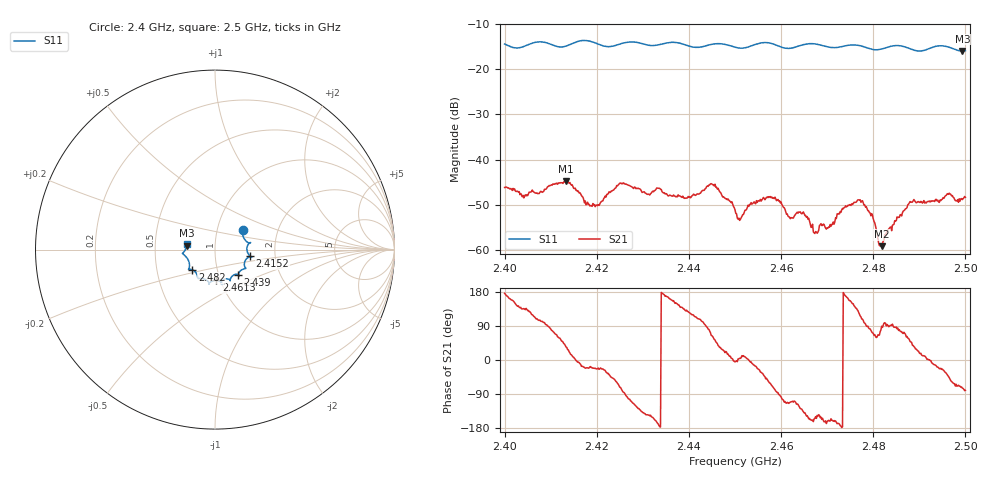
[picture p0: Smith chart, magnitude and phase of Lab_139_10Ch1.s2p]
# Hz S RI R 50
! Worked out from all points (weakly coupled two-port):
!   601 points, 2.4 GHz to 2.5 GHz, reference 50 ohm
!   highest |S21| = -44.80 dB at 2.4133 GHz (marker M1); lowest = -59.2 dB at 2.4818 GHz (marker M2)
!   lowest |S11| = -15.9 dB at 2.4993 GHz (marker M3), VSWR 1.38, Z = 36.3 + j1.59 ohm
!   |S11| at or under -10 dB: start of sweep to end of sweep
!   S12 and S22 are empty: the file has one direction only
!   S11 on the Smith chart (normalised r, x): 2.4 GHz: 1.33, +0.31; 2.4152 GHz: 1.48, -0.11; 2.439 GHz: 1.24, -0.36; 2.4613 GHz: 0.96, -0.34; 2.482 GHz: 0.76, -0.17; 2.5 GHz: 0.73, +0.05
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2.4e9  0.1556 0.1117  -0.00488 0.000334  0 0  0 0
2.404333e9  0.1755 0.0449  -0.00275 0.00279  0 0  0 0
2.413333e9  0.1811 -0.0149  0.00475 0.00325  0 0  0 0
2.415167e9  0.1948 -0.0362  0.00476 0.000352  0 0  0 0
2.416667e9  0.2044 -0.0422  0.00383 -0.00115  0 0  0 0
2.42e9  0.1894 -0.0416  0.00287 -0.00124  0 0  0 0
2.425333e9  0.1669 -0.0979  0.00126 -0.00524  0 0  0 0
2.433333e9  0.1324 -0.1326  -0.00471 -0.000938  0 0  0 0
2.439e9  0.1279 -0.139  -0.00259 0.00265  0 0  0 0
2.445167e9  0.084 -0.1715  0.00247 0.00462  0 0  0 0
2.45e9  0.0684 -0.1629  0.00276 -0.000241  0 0  0 0
2.451e9  0.0566 -0.1628  0.0021 0.000173  0 0  0 0
2.4575e9  0.0404 -0.1925  0.00189 -0.00336  0 0  0 0
2.461333e9  0.00806 -0.1708  -0.000924 -0.00231  0 0  0 0
2.466667e9  -0.033 -0.1904  -0.00166 -0.000623  0 0  0 0
2.477167e9  -0.0963 -0.156  -0.00158 0.00321  0 0  0 0
2.481833e9  -0.1251 -0.113  1.69e-05 0.00109  0 0  0 0
2.482e9  -0.1269 -0.1122  8.03e-05 0.00116  0 0  0 0
2.483333e9  -0.1399 -0.1099  5.82e-05 0.00169  0 0  0 0
2.488333e9  -0.142 -0.088  0.00233 0.00243  0 0  0 0
2.499333e9  -0.1585 0.0214  0.000987 -0.00345  0 0  0 0
2.5e9  -0.1581 0.0334  0.000661 -0.00375  0 0  0 0
